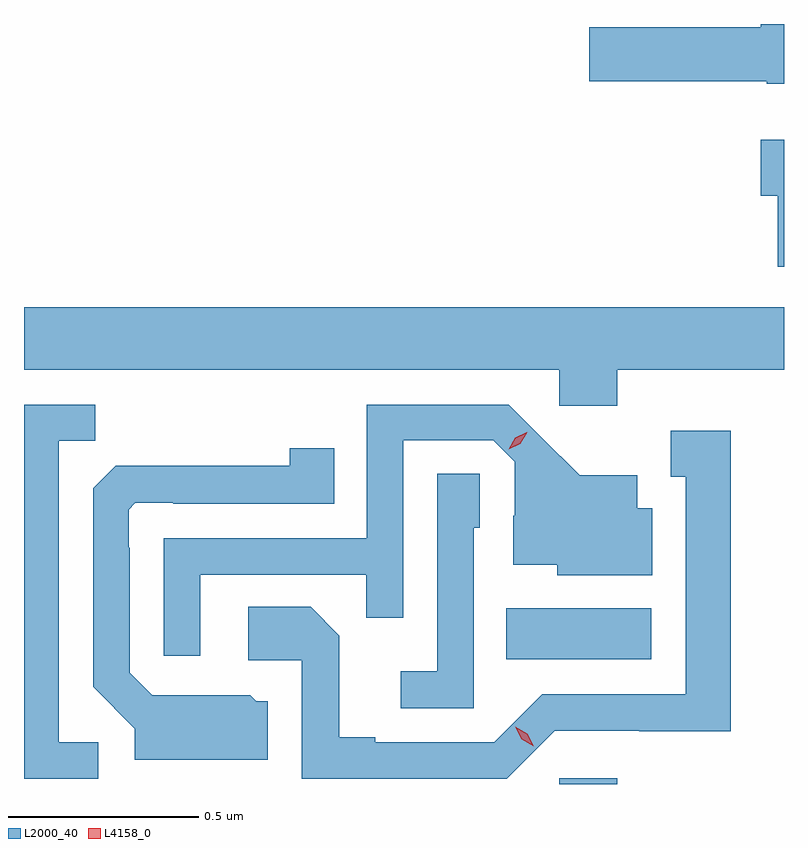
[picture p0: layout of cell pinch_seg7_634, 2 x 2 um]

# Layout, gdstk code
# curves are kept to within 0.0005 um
import gdstk
lib = gdstk.Library(unit=1e-6, precision=1e-09)
def R(c, l, rs):  # rectangles x0, y0, x1, y1
    for r in rs: c.add(gdstk.rectangle(r[:2], r[2:], *l))
def P(c, l, *ps):  # polygons
    for p in ps: c.add(gdstk.Polygon(p, *l))
L2000_40 = (2000, 40)
L4158_0 = (4158, 0)

pinch_seg7_634 = lib.new_cell('pinch_seg7_634')
R(pinch_seg7_634, L2000_40, [(170.142,1027.498,170.294,1027.513), (170.002,1027.826,170.383,1027.96)])
P(pinch_seg7_634, L2000_40, [(170.733,1029.498),(170.672,1029.498),(170.672,1029.489),(170.22,1029.489),(170.22,1029.347),(170.688,1029.347),(170.688,1029.341),(170.733,1029.341)],
  [(170.733,1029.193),(170.672,1029.193),(170.672,1029.046),(170.716,1029.046),(170.716,1028.859),(170.733,1028.859)],
  [(170.294,1028.588),(170.733,1028.588),(170.733,1028.752),(168.733,1028.752),(168.733,1028.588),(170.142,1028.588),(170.142,1028.493),(170.294,1028.493)],
  [(169.197,1028.049),(169.633,1028.049),(169.633,1027.936),(169.731,1027.936),(169.731,1028.403),(169.968,1028.403),(170.025,1028.346),(170.025,1028.204),(170.021,1028.204),(170.021,1028.075),(170.136,1028.075),(170.136,1028.048),(170.386,1028.048),(170.386,1028.224),(170.347,1028.224),(170.347,1028.311),(170.195,1028.311),(170.008,1028.496),(169.635,1028.496),(169.635,1028.145),(169.101,1028.145),(169.101,1027.836),(169.197,1027.836)],
  [(168.928,1027.608),(168.825,1027.608),(168.825,1028.401),(168.921,1028.401),(168.921,1028.496),(168.733,1028.496),(168.733,1027.512),(168.928,1027.512)],
  [(170.13,1027.638),(170.352,1027.638),(170.352,1027.637),(170.593,1027.637),(170.593,1028.428),(170.435,1028.428),(170.435,1028.307),(170.474,1028.307),(170.474,1027.734),(170.097,1027.734),(169.971,1027.608),(169.657,1027.608),(169.657,1027.621),(169.563,1027.621),(169.563,1027.888),(169.487,1027.964),(169.323,1027.964),(169.323,1027.824),(169.464,1027.824),(169.464,1027.512),(170.004,1027.512)],
  [(169.375,1027.716),(169.344,1027.716),(169.328,1027.732),(169.194,1027.732),(169.194,1027.731),(169.071,1027.731),(169.011,1027.791),(169.011,1028.12),(169.008,1028.12),(169.008,1028.22),(169.026,1028.238),(169.126,1028.238),(169.126,1028.235),(169.55,1028.235),(169.55,1028.382),(169.432,1028.382),(169.432,1028.336),(169.075,1028.336),(169.075,1028.335),(168.974,1028.335),(168.915,1028.276),(168.915,1027.754),(169.025,1027.644),(169.025,1027.562),(169.375,1027.562)],
  [(169.917,1028.172),(169.932,1028.172),(169.932,1028.315),(169.821,1028.315),(169.821,1027.795),(169.725,1027.795),(169.725,1027.698),(169.917,1027.698)])
P(pinch_seg7_634, L4158_0, [(170.008,1028.379),(170.008,1028.379),(170.026,1028.409),(170.056,1028.424),(170.057,1028.424),(170.057,1028.424),(170.039,1028.394),(170.009,1028.379)],
  [(170.074,1027.597),(170.043,1027.616),(170.026,1027.649),(170.026,1027.649),(170.026,1027.649),(170.057,1027.63),(170.074,1027.597),(170.074,1027.597)])

lib.write_gds('pinch_seg7_634.gds')
